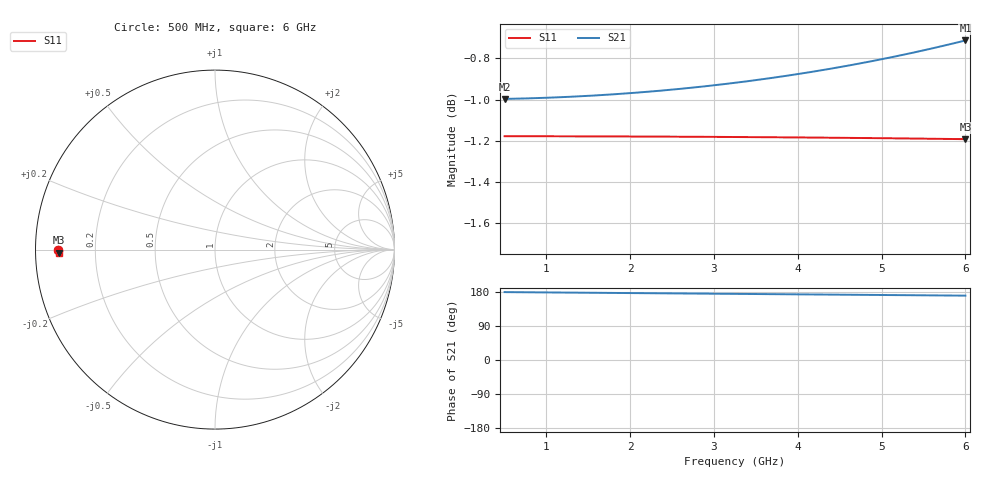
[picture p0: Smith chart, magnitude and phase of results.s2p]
! rfsim (KiCad + openEMS)
# HZ S RI R 50
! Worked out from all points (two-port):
!   251 points, 500 MHz to 6 GHz, reference 50 ohm
!   highest |S21| = -0.71 dB at 6 GHz (marker M1); lowest = -1.0 dB at 500 MHz (marker M2)
!   |S21| within 3 dB of the highest: start of sweep to end of sweep
!   lowest |S11| = -1.2 dB at 6 GHz (marker M3), VSWR 14.59, Z = 3.43 - j0.477 ohm
!   |S11| at or under -10 dB: nowhere
!   S12 and S22 are empty: the file has one direction only
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5e8  -0.8731 -0.00133  -0.8915 0.0129  0 0  0 0
9.62e8  -0.8731 -0.00257  -0.8917 0.0249  0 0  0 0
1.424e9  -0.8731 -0.0038  -0.8922 0.0369  0 0  0 0
1.886e9  -0.873 -0.00505  -0.8928 0.049  0 0  0 0
2.128e9  -0.873 -0.0057  -0.8931 0.0553  0 0  0 0
2.348e9  -0.8729 -0.0063  -0.8935 0.0611  0 0  0 0
2.59e9  -0.8729 -0.00696  -0.894 0.0675  0 0  0 0
2.81e9  -0.8728 -0.00756  -0.8945 0.0734  0 0  0 0
3.03e9  -0.8728 -0.00816  -0.895 0.0792  0 0  0 0
3.25e9  -0.8727 -0.00877  -0.8956 0.0851  0 0  0 0
3.492e9  -0.8726 -0.00944  -0.8963 0.0916  0 0  0 0
3.712e9  -0.8726 -0.0101  -0.8969 0.0976  0 0  0 0
3.954e9  -0.8725 -0.0107  -0.8977 0.1042  0 0  0 0
4.174e9  -0.8724 -0.0114  -0.8985 0.1102  0 0  0 0
4.416e9  -0.8723 -0.012  -0.8994 0.1169  0 0  0 0
4.636e9  -0.8722 -0.0127  -0.9002 0.1231  0 0  0 0
4.878e9  -0.8721 -0.0134  -0.9012 0.1299  0 0  0 0
5.098e9  -0.872 -0.014  -0.9022 0.1361  0 0  0 0
5.34e9  -0.8719 -0.0147  -0.9034 0.143  0 0  0 0
5.56e9  -0.8718 -0.0154  -0.9044 0.1493  0 0  0 0
5.78e9  -0.8717 -0.016  -0.9056 0.1557  0 0  0 0
6e9  -0.8715 -0.0167  -0.9068 0.1622  0 0  0 0
